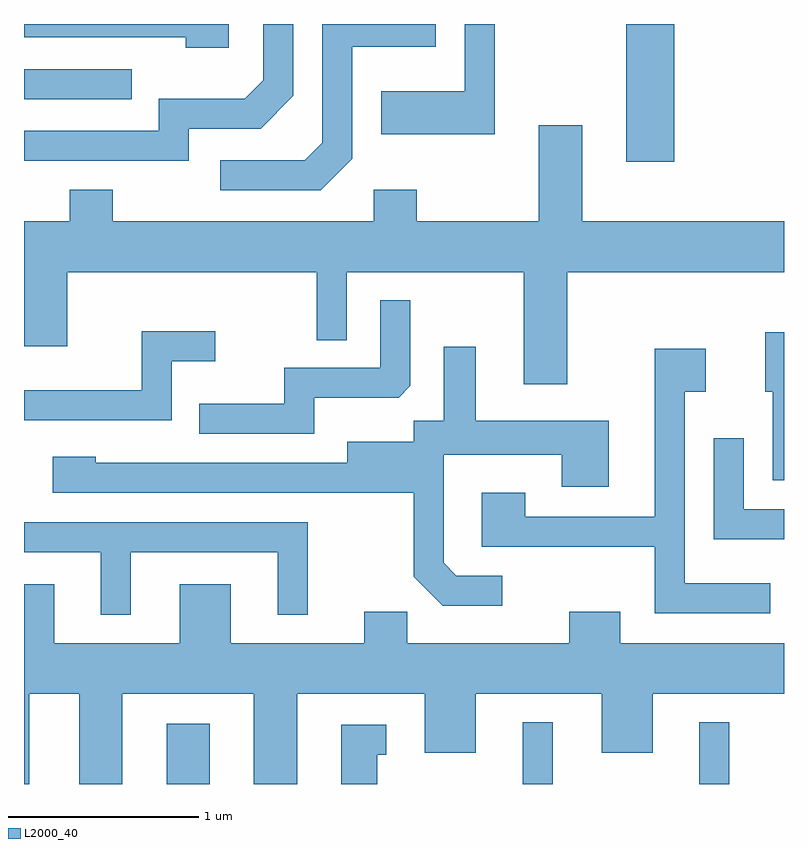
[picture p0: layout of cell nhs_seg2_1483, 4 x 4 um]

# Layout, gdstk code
import gdstk
lib = gdstk.Library(unit=1e-6, precision=1e-09)
def R(c, l, rs):  # rectangles x0, y0, x1, y1
    for r in rs: c.add(gdstk.rectangle(r[:2], r[2:], *l))
def P(c, l, *ps):  # polygons
    for p in ps: c.add(gdstk.Polygon(p, *l))
L2000_40 = (2000, 40)

nhs_seg2_1483 = lib.new_cell('nhs_seg2_1483')
R(nhs_seg2_1483, L2000_40, [(228.361,1087.802,228.589,1088.119), (230.236,1087.802,230.394,1088.128), (231.166,1087.802,231.324,1088.128), (230.781,1091.076,231.034,1091.802), (227.611,1091.406,228.178,1091.564)])
P(nhs_seg2_1483, L2000_40, [(228.689,1091.802),(227.611,1091.802),(227.611,1091.731),(228.461,1091.731),(228.461,1091.676),(228.689,1091.676)],
  [(228.479,1091.251),(228.857,1091.251),(229.029,1091.424),(229.029,1091.802),(228.871,1091.802),(228.871,1091.507),(228.774,1091.409),(228.321,1091.409),(228.321,1091.239),(227.611,1091.239),(227.611,1091.081),(228.479,1091.081)],
  [(229.339,1091.094),(229.339,1091.681),(229.779,1091.681),(229.779,1091.802),(229.181,1091.802),(229.181,1091.177),(229.089,1091.084),(228.643,1091.084),(228.643,1090.926),(229.172,1090.926)],
  [(230.089,1091.802),(229.931,1091.802),(229.931,1091.449),(229.491,1091.449),(229.491,1091.221),(230.089,1091.221)],
  [(230.469,1090.496),(231.611,1090.496),(231.611,1090.764),(230.549,1090.764),(230.549,1091.269),(230.321,1091.269),(230.321,1090.764),(229.679,1090.764),(229.679,1090.929),(229.451,1090.929),(229.451,1090.764),(228.079,1090.764),(228.079,1090.929),(227.851,1090.929),(227.851,1090.764),(227.611,1090.764),(227.611,1090.106),(227.839,1090.106),(227.839,1090.496),(229.151,1090.496),(229.151,1090.138),(229.309,1090.138),(229.309,1090.496),(230.241,1090.496),(230.241,1089.906),(230.469,1089.906)],
  [(229.139,1089.836),(229.584,1089.836),(229.644,1089.897),(229.644,1090.348),(229.486,1090.348),(229.486,1089.994),(228.981,1089.994),(228.981,1089.804),(228.533,1089.804),(228.533,1089.646),(229.139,1089.646)],
  [(228.389,1090.026),(228.618,1090.026),(228.618,1090.184),(228.231,1090.184),(228.231,1089.874),(227.611,1089.874),(227.611,1089.716),(228.389,1089.716)],
  [(231.611,1090.179),(231.511,1090.179),(231.511,1089.866),(231.551,1089.866),(231.551,1089.401),(231.611,1089.401)],
  [(230.128,1088.899),(229.887,1088.899),(229.819,1088.967),(229.819,1089.536),(230.441,1089.536),(230.441,1089.366),(230.689,1089.366),(230.689,1089.714),(229.989,1089.714),(229.989,1090.103),(229.821,1090.103),(229.821,1089.714),(229.661,1089.714),(229.661,1089.604),(229.311,1089.604),(229.311,1089.494),(227.989,1089.494),(227.989,1089.524),(227.761,1089.524),(227.761,1089.336),(229.661,1089.336),(229.661,1088.894),(229.814,1088.741),(230.128,1088.741)],
  [(231.538,1088.859),(231.089,1088.859),(231.089,1089.866),(231.199,1089.866),(231.199,1090.094),(230.931,1090.094),(230.931,1089.209),(230.249,1089.209),(230.249,1089.334),(230.021,1089.334),(230.021,1089.051),(230.931,1089.051),(230.931,1088.701),(231.538,1088.701)],
  [(231.611,1089.249),(231.399,1089.249),(231.399,1089.623),(231.241,1089.623),(231.241,1089.091),(231.611,1089.091)],
  [(228.174,1089.021),(228.946,1089.021),(228.946,1088.693),(229.104,1088.693),(229.104,1089.179),(227.611,1089.179),(227.611,1089.021),(228.016,1089.021),(228.016,1088.693),(228.174,1088.693)],
  [(228.699,1088.854),(228.431,1088.854),(228.431,1088.544),(227.769,1088.544),(227.769,1088.854),(227.611,1088.854),(227.611,1087.802),(227.639,1087.802),(227.639,1088.276),(227.901,1088.276),(227.901,1087.802),(228.129,1087.802),(228.129,1088.276),(228.821,1088.276),(228.821,1087.802),(229.049,1087.802),(229.049,1088.276),(229.721,1088.276),(229.721,1087.966),(229.989,1087.966),(229.989,1088.276),(230.651,1088.276),(230.651,1087.966),(230.919,1087.966),(230.919,1088.276),(231.611,1088.276),(231.611,1088.544),(230.749,1088.544),(230.749,1088.709),(230.481,1088.709),(230.481,1088.544),(229.629,1088.544),(229.629,1088.709),(229.401,1088.709),(229.401,1088.544),(228.699,1088.544)],
  [(229.469,1087.956),(229.518,1087.956),(229.518,1088.114),(229.281,1088.114),(229.281,1087.802),(229.469,1087.802)])

lib.write_gds('nhs_seg2_1483.gds')
